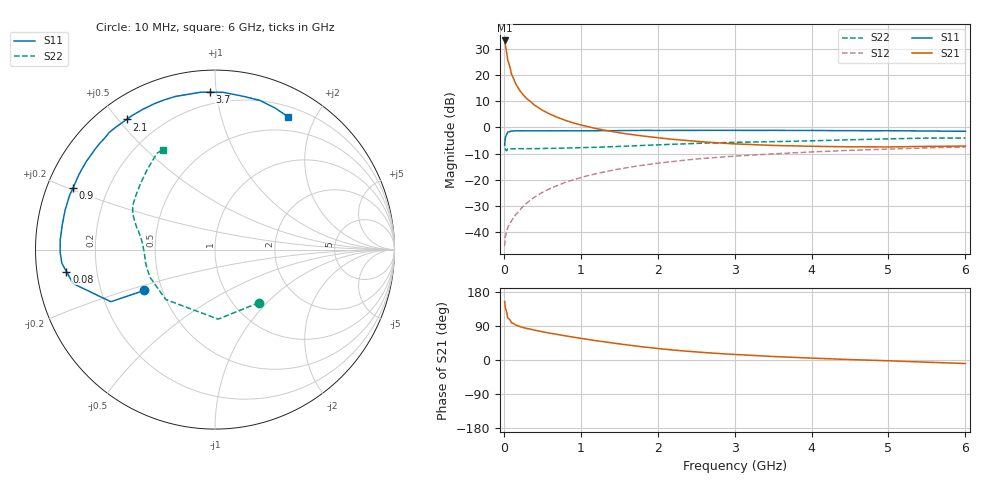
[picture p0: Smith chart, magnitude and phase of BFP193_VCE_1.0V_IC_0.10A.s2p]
! (c) 2017  Infineon Technologies AG, Munich
! Infineon Technologies  Discrete & RF Semiconductors
! BFP193
! VCE =  1.0 V,  IC = 0.10 A
! Common Emitter S-Parameters:  Jan 2017
# GHz  S  MA  R  50
!  f  S11  S21  S12  S22
! GHz  MAG  ANG  MAG  ANG  MAG  ANG  MAG  ANG
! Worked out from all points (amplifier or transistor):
!   77 points, 10 MHz to 6 GHz, reference 50 ohm
!   highest |S21| = 33.2 dB at 10 MHz (marker M1)
!   |S21| within 3 dB of that: start of sweep to 27.2 MHz
!   unconditionally stable (mu >= 1): start of sweep to 17.15 MHz; 133.8 MHz to end of sweep
!   at 130 MHz: K = 0.99, MSG = 26.4 dB, |S12| = -34.3 dB
!   at 2.2 GHz: K = 1.10, MAG = 2.3 dB, |S12| = -13.0 dB
!   at 6 GHz: K = 1.08, MAG = -1.6 dB, |S12| = -7.4 dB
!   S11 on the Smith chart (normalised r, x): 10 MHz: 0.40, -0.23; 80 MHz: 0.09, -0.07; 900 MHz: 0.08, +0.21; 2.1 GHz: 0.08, +0.53; 3.7 GHz: 0.13, +0.96; 6 GHz: 0.32, +1.64
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0.01  0.4546 -150.0  45.93 154.5  0.0054 61.9  0.3836 -50.4
0.02  0.6483 -153.4  37.23 136.3  0.0081 51.7  0.3879 -87.4
0.05  0.8129 -166.5  19.56 111.3  0.0121 46.6  0.3909 -134.7
0.08  0.837 -171.6  13.97 105.6  0.0147 50.4  0.3854 -148.1
0.1  0.8566 -174.9  10.39 98.4  0.0165 52.3  0.3936 -157.0
0.15  0.8625 -178.9  7.002 92.9  0.0212 58.9  0.3929 -165.1
0.2  0.8633 178.5  5.267 88.9  0.0254 63.4  0.3937 -169.7
0.25  0.864 176.3  4.219 85.7  0.0313 65.4  0.3929 -172.4
0.3  0.8622 174.4  3.523 83.2  0.0362 67.7  0.3931 -174.7
0.4  0.8622 170.9  2.661 78.6  0.0468 69.3  0.3945 -177.4
0.5  0.862 167.7  2.137 74.5  0.0575 69.1  0.3965 -179.6
0.6  0.8637 164.9  1.798 70.7  0.0679 69.0  0.4 178.6
0.7  0.8631 162.3  1.551 67.4  0.0781 69.4  0.4001 176.9
0.9  0.8615 156.6  1.226 60.4  0.0996 67.1  0.4071 174.6
1.1  0.8659 151.0  1.029 54.1  0.1209 64.6  0.4149 171.9
1.5  0.8712 140.3  0.793 42.6  0.1609 58.8  0.4347 167.2
2.1  0.8764 124.2  0.615 28.4  0.2157 49.2  0.4713 161.0
3.1  0.8793 102.5  0.479 13.6  0.289 33.9  0.5234 150.1
3.7  0.8772 91.9  0.447 7.6  0.3236 25.8  0.5431 142.0
4.1  0.8746 85.6  0.435 4.2  0.3453 20.5  0.5608 136.4
5.1  0.865 72.1  0.427 -2.8  0.3908 8.3  0.6099 124.2
6  0.8448 61.3  0.441 -9.2  0.4246 -2.0  0.6275 117.3
